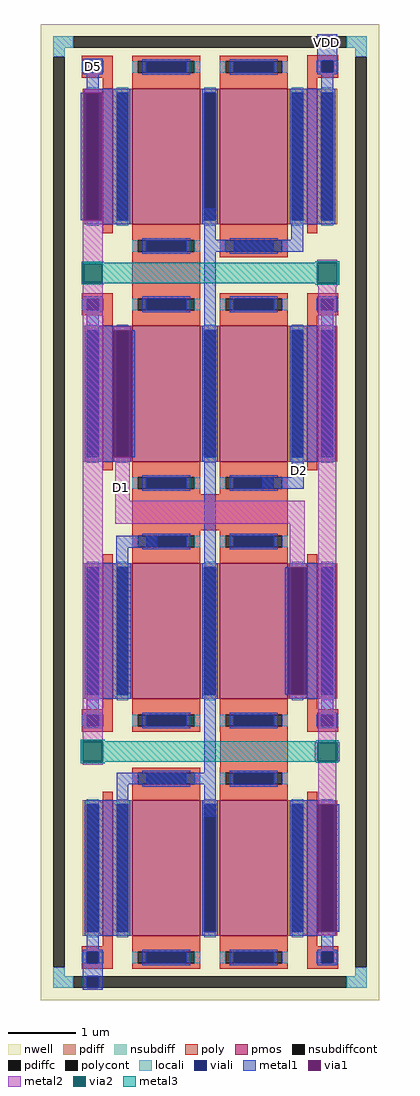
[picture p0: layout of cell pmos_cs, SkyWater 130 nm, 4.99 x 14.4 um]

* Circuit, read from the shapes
.subckt pmos_cs VDD D2 D1 D5
XM1 VDD VDD VDD VDD sky130_fd_pr__pfet_01v8 w=2 l=0.15 m=2
XM2 D2 D2 D2 VDD sky130_fd_pr__pfet_01v8 w=2 l=0.15 m=2
XM3 D1 D1 D1 VDD sky130_fd_pr__pfet_01v8 w=2 l=0.15 m=2
XM4 D5 D5 D5 VDD sky130_fd_pr__pfet_01v8 w=2 l=0.15 m=2
XM5 VDD VDD VDD VDD sky130_fd_pr__pfet_01v8 w=2 l=1 m=2
XM6 VDD D2 D2 VDD sky130_fd_pr__pfet_01v8 w=2 l=1 m=2
XM7 VDD D2 D1 VDD sky130_fd_pr__pfet_01v8 w=2 l=1 m=2
XM8 VDD D2 D5 VDD sky130_fd_pr__pfet_01v8 w=2 l=1 m=2
.ends

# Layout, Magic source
magic
tech sky130A
magscale 1 2
<< nwell >>
rect -176 53 822 1391
rect -176 19 306 53
rect 599 19 822 53
rect -176 -1489 822 19
<< nsubdiff >>
rect -140 1321 -80 1355
rect 726 1321 786 1355
rect -140 1295 -106 1321
rect 752 1295 786 1321
rect -140 -1419 -106 -1393
rect 752 -1419 786 -1393
rect -140 -1453 -80 -1419
rect 726 -1453 786 -1419
<< nsubdiffcont >>
rect -80 1321 726 1355
rect -140 -1393 -106 1295
rect 752 -1393 786 1295
rect -80 -1453 726 -1419
<< poly >>
rect -56 1282 36 1298
rect -56 1248 -40 1282
rect -6 1248 36 1282
rect -56 1232 36 1248
rect 6 1211 36 1232
rect 610 1283 702 1299
rect 610 1249 652 1283
rect 686 1249 702 1283
rect 610 1233 702 1249
rect 610 1212 640 1233
rect 94 597 294 703
rect -56 581 36 597
rect -56 547 -40 581
rect -6 547 36 581
rect -56 531 36 547
rect 6 510 36 531
rect 610 581 702 597
rect 610 547 652 581
rect 686 547 702 581
rect 610 531 702 547
rect 610 510 640 531
rect 94 -103 552 3
rect 6 -631 36 -610
rect -56 -647 36 -631
rect -56 -681 -40 -647
rect -6 -681 36 -647
rect -56 -697 36 -681
rect 610 -631 640 -610
rect 610 -647 702 -631
rect 610 -681 652 -647
rect 686 -681 702 -647
rect 610 -697 702 -681
rect 353 -803 553 -697
rect 6 -1331 36 -1310
rect -56 -1347 36 -1331
rect -56 -1381 -40 -1347
rect -6 -1381 36 -1347
rect -56 -1397 36 -1381
rect 610 -1331 640 -1310
rect 610 -1347 702 -1331
rect 610 -1381 652 -1347
rect 686 -1381 702 -1347
rect 610 -1397 702 -1381
<< polycont >>
rect -40 1248 -6 1282
rect 652 1249 686 1283
rect -40 547 -6 581
rect 652 547 686 581
rect -40 -681 -6 -647
rect 652 -681 686 -647
rect -40 -1381 -6 -1347
rect 652 -1381 686 -1347
<< locali >>
rect -140 1321 -80 1355
rect 726 1321 786 1355
rect -140 1295 -106 1321
rect 752 1295 786 1321
rect -56 1248 -40 1282
rect -6 1248 10 1282
rect 636 1249 652 1283
rect 686 1249 702 1283
rect -56 547 -40 581
rect -6 547 10 581
rect 636 547 652 581
rect 686 547 702 581
rect -56 -681 -40 -647
rect -6 -681 10 -647
rect 636 -681 652 -647
rect 686 -681 702 -647
rect -56 -1381 -40 -1347
rect -6 -1381 10 -1347
rect 636 -1381 652 -1347
rect 686 -1381 702 -1347
rect -140 -1419 -106 -1393
rect 752 -1419 786 -1393
rect -140 -1453 -80 -1419
rect 726 -1453 786 -1419
<< viali >>
rect 652 1321 686 1355
rect -40 1248 -6 1282
rect 652 1249 686 1283
rect -40 547 -6 581
rect 652 547 686 581
rect -40 -681 -6 -647
rect 652 -681 686 -647
rect -40 -1381 -6 -1347
rect 652 -1381 686 -1347
rect -40 -1453 -6 -1419
<< metal1 >>
rect 640 1355 698 1361
rect 640 1321 652 1355
rect 686 1321 698 1355
rect -52 1282 6 1288
rect -52 1248 -40 1282
rect -6 1248 6 1282
rect -52 1242 6 1248
rect 640 1283 698 1321
rect 640 1249 652 1283
rect 686 1249 698 1283
rect 640 1243 698 1249
rect -40 1200 -6 1242
rect 652 1200 686 1243
rect -46 1188 88 1200
rect -59 812 -49 1188
rect 3 812 88 1188
rect -46 800 88 812
rect 306 754 340 848
rect 558 800 692 1200
rect 563 754 598 800
rect 306 719 598 754
rect -52 581 6 587
rect -52 547 -40 581
rect -6 547 6 581
rect -52 541 6 547
rect -40 500 -6 541
rect -46 488 88 500
rect -46 112 39 488
rect 91 112 101 488
rect -46 100 88 112
rect 47 -154 168 -119
rect 47 -200 82 -154
rect -45 -600 89 -200
rect -40 -641 -6 -600
rect -52 -647 6 -641
rect -52 -681 -40 -647
rect -6 -681 6 -647
rect -52 -687 6 -681
rect 306 -819 340 719
rect 640 581 698 587
rect 640 547 652 581
rect 686 547 698 581
rect 640 541 698 547
rect 652 500 686 541
rect 558 100 692 500
rect 564 54 599 100
rect 477 19 599 54
rect 558 -212 692 -200
rect 545 -588 555 -212
rect 607 -588 692 -212
rect 558 -600 692 -588
rect 652 -641 686 -600
rect 640 -647 698 -641
rect 640 -681 652 -647
rect 686 -681 698 -647
rect 640 -687 698 -681
rect 48 -853 340 -819
rect 48 -900 82 -853
rect -46 -1300 88 -900
rect 306 -948 340 -853
rect 558 -912 692 -900
rect 558 -1288 643 -912
rect 695 -1288 705 -912
rect 558 -1300 692 -1288
rect -40 -1341 -6 -1300
rect 652 -1341 686 -1300
rect -52 -1347 6 -1341
rect -52 -1381 -40 -1347
rect -6 -1381 6 -1347
rect -52 -1419 6 -1381
rect 640 -1347 698 -1341
rect 640 -1381 652 -1347
rect 686 -1381 698 -1347
rect 640 -1387 698 -1381
rect -52 -1453 -40 -1419
rect -6 -1453 6 -1419
rect -52 -1459 6 -1453
<< via1 >>
rect -49 812 3 1188
rect 39 112 91 488
rect 555 -588 607 -212
rect 643 -1288 695 -912
<< metal2 >>
rect -49 1188 3 1198
rect -53 812 -49 1188
rect 3 812 7 1188
rect -53 684 7 812
rect -53 628 -51 684
rect 5 628 7 684
rect -53 -726 7 628
rect 639 686 699 695
rect 639 617 699 626
rect 39 488 91 498
rect 39 102 91 112
rect 43 -16 86 102
rect 43 -84 602 -16
rect 559 -202 602 -84
rect 555 -212 607 -202
rect 555 -598 607 -588
rect 643 -728 695 617
rect 632 -784 641 -728
rect 697 -784 706 -728
rect -53 -795 7 -786
rect 643 -912 695 -784
rect 643 -1298 695 -1288
<< via2 >>
rect -51 628 5 684
rect 639 626 699 686
rect -53 -786 7 -726
rect 641 -784 697 -728
<< metal3 >>
rect -56 686 10 689
rect 634 686 704 691
rect -56 684 639 686
rect -56 628 -51 684
rect 5 628 639 684
rect -56 626 639 628
rect 699 626 704 686
rect -56 623 10 626
rect 634 621 704 626
rect -58 -726 12 -721
rect 636 -726 702 -723
rect -58 -786 -53 -726
rect 7 -728 702 -726
rect 7 -784 641 -728
rect 697 -784 702 -728
rect 7 -786 702 -784
rect -58 -791 12 -786
rect 636 -789 702 -786
use sky130_fd_pr__pfet_01v8_2ZH9AN  sky130_fd_pr__pfet_01v8_2ZH9AN_0
transform 1 0 21 0 1 -1100
box -109 -262 109 262
use sky130_fd_pr__pfet_01v8_2ZH9AN  sky130_fd_pr__pfet_01v8_2ZH9AN_1
transform 1 0 21 0 1 1000
box -109 -262 109 262
use sky130_fd_pr__pfet_01v8_2ZH9AN  sky130_fd_pr__pfet_01v8_2ZH9AN_2
transform 1 0 625 0 1 1000
box -109 -262 109 262
use sky130_fd_pr__pfet_01v8_2ZH9AN  sky130_fd_pr__pfet_01v8_2ZH9AN_3
transform 1 0 625 0 1 300
box -109 -262 109 262
use sky130_fd_pr__pfet_01v8_2ZH9AN  sky130_fd_pr__pfet_01v8_2ZH9AN_4
transform 1 0 21 0 1 300
box -109 -262 109 262
use sky130_fd_pr__pfet_01v8_2ZH9AN  sky130_fd_pr__pfet_01v8_2ZH9AN_5
transform 1 0 21 0 1 -400
box -109 -262 109 262
use sky130_fd_pr__pfet_01v8_2ZH9AN  sky130_fd_pr__pfet_01v8_2ZH9AN_6
transform 1 0 625 0 1 -400
box -109 -262 109 262
use sky130_fd_pr__pfet_01v8_2ZH9AN  sky130_fd_pr__pfet_01v8_2ZH9AN_7
transform 1 0 625 0 1 -1100
box -109 -262 109 262
use sky130_fd_pr__pfet_01v8_SDE6B7  sky130_fd_pr__pfet_01v8_SDE6B7_0
transform 1 0 323 0 1 1000
box -323 -300 323 300
use sky130_fd_pr__pfet_01v8_SDE6B7  sky130_fd_pr__pfet_01v8_SDE6B7_1
transform 1 0 323 0 1 300
box -323 -300 323 300
use sky130_fd_pr__pfet_01v8_SDE6B7  sky130_fd_pr__pfet_01v8_SDE6B7_2
transform 1 0 323 0 1 -400
box -323 -300 323 300
use sky130_fd_pr__pfet_01v8_SDE6B7  sky130_fd_pr__pfet_01v8_SDE6B7_3
transform 1 0 323 0 1 -1100
box -323 -300 323 300
<< labels >>
flabel viali 668 1336 668 1336 0 FreeSans 160 0 0 0 VDD
port 0 nsew
flabel metal1 586 74 586 74 0 FreeSans 160 0 0 0 D2
port 1 nsew
flabel metal2 62 22 62 22 0 FreeSans 160 0 0 0 D1
port 2 nsew
flabel viali -22 1266 -22 1266 0 FreeSans 160 0 0 0 D5
port 3 nsew
<< end >>

# cell sky130_fd_pr__pfet_01v8_2ZH9AN: kit device sky130_fd_pr__pfet_01v8, w 2 l 0.15 m 1 nf 1 diffcov 100 polycov 100 guard 0 glc 1 grc 1 gtc 1 gbc 1 tbcov 100 rlcov 100 topc 0 botc 0 poverlap 0 doverlap 1 lmin 0.15 wmin 0.42 compatible {sky130_fd_pr__pfet_01v8 sky130_fd_pr__pfet_01v8_lvt sky130_fd_pr__pfet_01v8_hvt sky130_fd_pr__pfet_g5v0d10v5} full_metal 1 viasrc 100 viadrn 100 viagate 100 viagb 0 viagr 0 viagl 0 viagt 0

# cell sky130_fd_pr__pfet_01v8_SDE6B7: kit device sky130_fd_pr__pfet_01v8, w 2 l 1 m 1 nf 2 diffcov 100 polycov 100 guard 0 glc 1 grc 1 gtc 1 gbc 1 tbcov 100 rlcov 100 topc 1 botc 1 poverlap 0 doverlap 1 lmin 0.15 wmin 0.42 compatible {sky130_fd_pr__pfet_01v8 sky130_fd_pr__pfet_01v8_lvt sky130_fd_pr__pfet_01v8_hvt sky130_fd_pr__pfet_g5v0d10v5} full_metal 1 viasrc 100 viadrn 100 viagate 70 viagb 0 viagr 0 viagl 0 viagt 0
